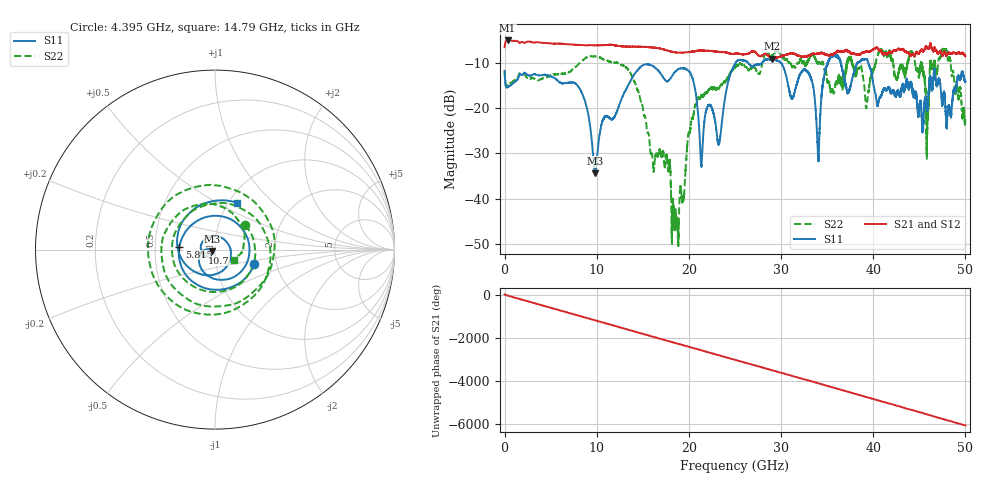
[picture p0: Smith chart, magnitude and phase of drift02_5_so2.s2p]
!Created with skrf (http://scikit-rf.org).
# Hz S RI R 50.0
!freq ReS11 ImS11 ReS21 ImS21 ReS12 ImS12 ReS22 ImS22
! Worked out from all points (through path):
!   10001 points, 300 kHz to 50 GHz, reference 50 ohm
!   highest |S21| = -5.03 dB at 325.3 MHz (marker M1); lowest = -9.0 dB at 29.01 GHz (marker M2)
!   group delay of S21, straight-line fit = 336 ps
!   lowest |S11| = -34.3 dB at 9.8 GHz (marker M3), VSWR 1.04, Z = 48.3 - j0.825 ohm
!   |S11| at or under -10 dB: start of sweep to 25.07 GHz; 29.98 GHz to 35.04 GHz (5.062 GHz wide, 15.6 % of centre); 39.47 GHz to end of sweep (the widest 3 of 12)
!   |S22| runs from -50.5 to -6.8 dB; largest |S21 - S12| = 0.021
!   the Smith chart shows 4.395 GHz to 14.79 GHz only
!   S11 on the Smith chart (normalised r, x): 4.395 GHz: 1.54, -0.26; 5.815 GHz: 0.67, +0.02; 10.7 GHz: 0.86, -0.03; 14.79 GHz: 1.09, +0.62
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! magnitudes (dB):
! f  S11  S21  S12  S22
! 300 kHz  -11.7  -6.5  -6.4  -11.6
! 325.3 MHz  -15.4  -5.0  -5.0  -15.0
! 4.395 GHz  -12.6  -5.6  -5.6  -13.3
! 5.815 GHz  -14.0  -5.7  -5.7  -12.5
! 8.335 GHz  -16.4  -6.0  -6.0  -9.7
! 9.8 GHz  -34.3  -6.1  -6.1  -8.5
! 10.7 GHz  -22.5  -6.1  -6.1  -9.2
! 14.79 GHz  -10.8  -6.4  -6.4  -18.5
! 16.67 GHz  -11.7  -6.7  -6.7  -30.3
! 18.67 GHz  -11.7  -7.7  -7.7  -46.4
! 20.37 GHz  -13.3  -7.5  -7.5  -22.1
! 21.36 GHz  -32.4  -7.2  -7.3  -17.1
! 23.3 GHz  -27.6  -7.5  -7.6  -15.5
! 25 GHz  -10.3  -8.0  -8.0  -11.1
! 29.01 GHz  -9.1  -9.0  -9.0  -8.4
! 33.34 GHz  -14.1  -8.0  -8.2  -8.1
! 34.02 GHz  -31.2  -7.9  -8.0  -10.2
! 35.52 GHz  -8.5  -8.2  -8.1  -16.0
! 41.67 GHz  -15.4  -7.7  -7.8  -7.7
! 45.85 GHz  -20.7  -6.7  -6.8  -21.5
! 47.77 GHz  -17.6  -7.6  -7.6  -7.3
! 50 GHz  -14.1  -8.5  -8.5  -22.2
